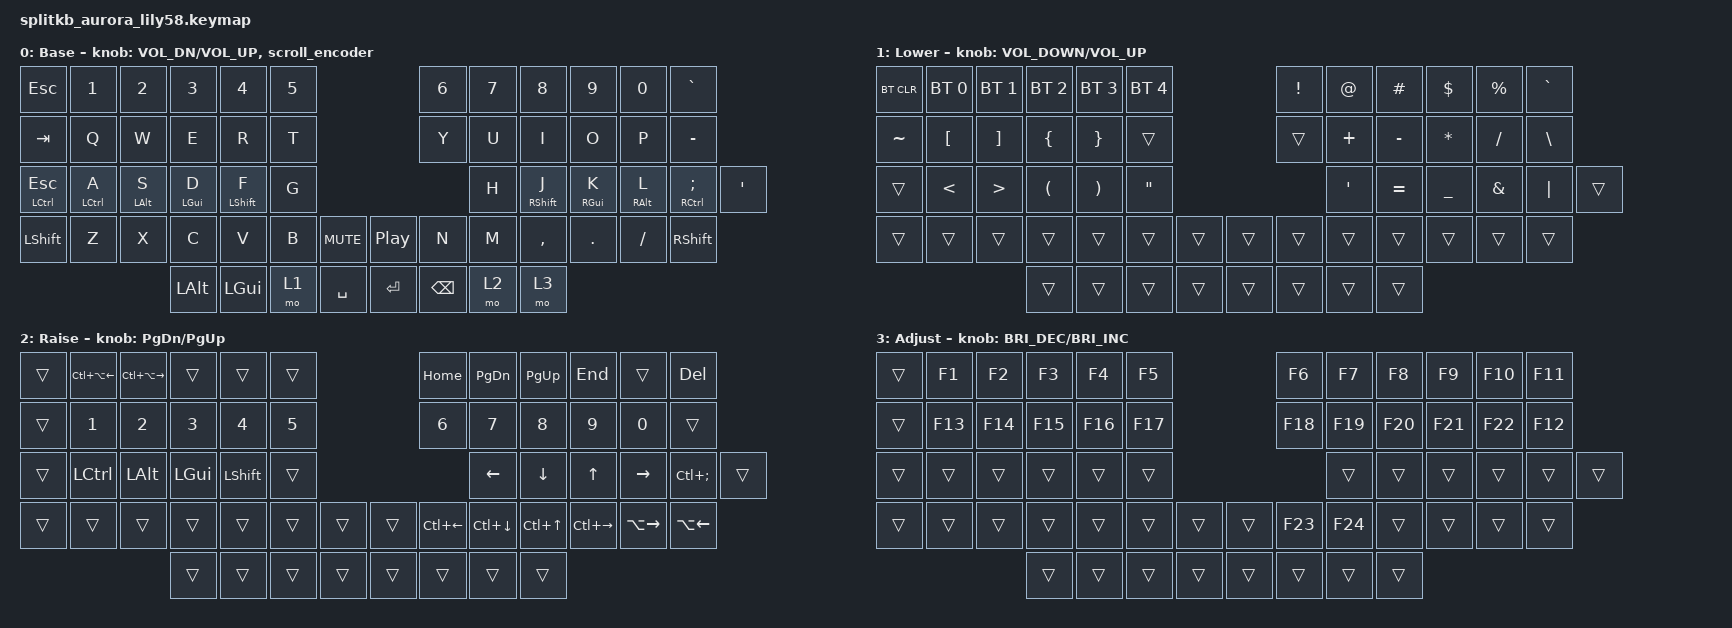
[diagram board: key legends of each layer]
/*
 * Copyright (c) 2022 The ZMK Contributors
 *
 * SPDX-License-Identifier: MIT
 */

#include <behaviors.dtsi>
#include <dt-bindings/zmk/bt.h>
#include <dt-bindings/zmk/ext_power.h>
#include <dt-bindings/zmk/keys.h>
#include <dt-bindings/zmk/pointing.h>

// Wheel lines scrolled per encoder detent (macOS adds its own acceleration on fast spins)
#define ENC_SCROLL_LINES 3

// One encoder tap (tap-ms) must span exactly one &msc tick (trigger-period-ms),
// and &msc emits speed * trigger-period-ms / 1000 lines per tick.
&msc {
    trigger-period-ms = <10>;
};

/ {
    behaviors {
        hml: homerow_mods_left {
            compatible = "zmk,behavior-hold-tap";
            #binding-cells = <2>;
            tapping-term-ms = <280>;
            quick-tap-ms = <175>;
            require-prior-idle-ms = <150>;
            flavor = "balanced";
            bindings = <&kp>, <&kp>;
            hold-trigger-key-positions = <6 7 8 9 10 11 18 19 20 21 22 23 30 31 32 33 34 35 43 44 45 46 47 48 49 50 51 52 53 54 55 56 57>;
            hold-trigger-on-release;
        };

        hmr: homerow_mods_right {
            compatible = "zmk,behavior-hold-tap";
            #binding-cells = <2>;
            tapping-term-ms = <280>;
            quick-tap-ms = <175>;
            require-prior-idle-ms = <150>;
            flavor = "balanced";
            bindings = <&kp>, <&kp>;
            hold-trigger-key-positions = <0 1 2 3 4 5 12 13 14 15 16 17 24 25 26 27 28 29 36 37 38 39 40 41 42 50 51 52 53 54 55 56 57>;
            hold-trigger-on-release;
        };

        scroll_encoder: scroll_encoder {
            compatible = "zmk,behavior-sensor-rotate";
            #sensor-binding-cells = <0>;
            bindings = <&msc MOVE_Y(-ENC_SCROLL_LINES * 100)>, <&msc MOVE_Y(ENC_SCROLL_LINES * 100)>;
            tap-ms = <15>;
        };
    };

    keymap {
        compatible = "zmk,keymap";

        default_layer {
            display-name = "Base";
            // ------------------------------------------------------------------------------------------------------------
            // |  ESC  |  1  |  2  |  3   |  4   |  5   |                   |  6   |  7    |  8    |  9   |   0   |   `   |
            // |  TAB  |  Q  |  W  |  E   |  R   |  T   |                   |  Y   |  U    |  I    |  O   |   P   |   -   |
            // |CTRL/ESC| A  |  S  |  D   |  F   |  G   |                   |  H   |  J    |  K    |  L   |   ;   |   '   |
            // | SHIFT |  Z  |  X  |  C   |  V   |  B   |  MUTE  |  | PLAY  |  N   |  M    |  ,    |  .   |   /   | SHIFT |
            //                     | ALT  | GUI  | LOWER|  SPACE |  | ENTER | BSPC | RAISE | ADJST |

            bindings = <
&kp ESC        &kp N1    &kp N2  &kp N3    &kp N4    &kp N5                                  &kp N6     &kp N7     &kp N8     &kp N9    &kp N0       &kp GRAVE
&kp TAB        &kp Q     &kp W   &kp E     &kp R     &kp T                                   &kp Y      &kp U      &kp I      &kp O     &kp P        &kp MINUS
&mt LCTRL ESC  &hml LCTRL A  &hml LALT S  &hml LGUI D  &hml LSHFT F  &kp G                 &kp H      &hmr RSHFT J  &hmr RGUI K  &hmr RALT L  &hmr RCTRL SEMI  &kp SQT
&kp LSHFT      &kp Z     &kp X   &kp C     &kp V     &kp B   &kp C_MUTE    &kp C_PLAY_PAUSE  &kp N      &kp M      &kp COMMA  &kp DOT   &kp FSLH     &kp RSHFT
                                 &kp LALT  &kp LGUI  &mo 1   &kp SPACE     &kp RET           &kp BACKSPACE  &mo 2  &mo 3
            >;

            sensor-bindings = <&inc_dec_kp C_VOL_DN C_VOL_UP &scroll_encoder>;
        };

        lower_layer {
            display-name = "Lower";
            // ------------------------------------------------------------------------------------------------------------
            // | BTCLR | BT1 | BT2 |  BT3 |  BT4 |  BT5 |                   |  !   |  @    |  #    |  $   |   %   |   `   |
            // |   ~   |  [  |  ]  |  {   |  }   |      |                   |      |  +    |  -    |  *   |   /   |   \   |
            // |       |  <  |  >  |  (   |  )   |  "   |                   |  '   |  =    |  _    |  &   |   |   |       |
            // |       |     |     |      |      |      |        |  |       |      |       |       |      |       |       |
            //                     |      |      |      |        |  |       |      |       |       |

            bindings = <
&bt BT_CLR  &bt BT_SEL 0  &bt BT_SEL 1  &bt BT_SEL 2  &bt BT_SEL 3  &bt BT_SEL 4                    &kp EXCL   &kp AT     &kp HASH   &kp DLLR  &kp PRCNT  &kp GRAVE
&kp TILDE   &kp LBKT      &kp RBKT      &kp LBRC      &kp RBRC      &trans                          &trans     &kp PLUS   &kp MINUS  &kp STAR  &kp FSLH   &kp BSLH
&trans      &kp LT        &kp GT        &kp LPAR      &kp RPAR      &kp DQT                         &kp SQT    &kp EQUAL  &kp UNDER  &kp AMPS  &kp PIPE   &trans
&trans      &trans        &trans        &trans        &trans        &trans        &trans    &trans  &trans     &trans     &trans     &trans    &trans     &trans
                                        &trans        &trans        &trans        &trans    &trans  &trans     &trans     &trans
            >;

            sensor-bindings = <&inc_dec_kp C_VOLUME_DOWN C_VOLUME_UP>;
        };

        raise_layer {
            display-name = "Raise";
            // ------------------------------------------------------------------------------------------------------------
            // |       | C-A-←| C-A-→|      |      |      |                   | HOME |  PGDN | PGUP  | END  |       |  DEL  |
            // |       |  1   |  2   |  3   |  4   |  5   |                   |  6   |   7   |   8   |  9   |   0   |       |
            // |       | CTRL | ALT  | GUI  | SHFT |      |                   |  ←   |   ↓   |   ↑   |  →   | C-;   |       |
            // |       |      |      |      |      |      |        |  |       | C-←  |  C-↓  |  C-↑  | C-→  | A-→   | A-←   |
            //                       |      |      |      |        |  |       |      |       |       |

            bindings = <
&trans  &kp LC(LA(LEFT))  &kp LC(LA(RIGHT))  &trans    &trans    &trans                        &kp HOME      &kp PG_DN       &kp PG_UP       &kp END        &trans         &kp DEL
&trans  &kp N1            &kp N2             &kp N3    &kp N4    &kp N5                        &kp N6        &kp N7          &kp N8          &kp N9         &kp N0         &trans
&trans  &kp LCTRL         &kp LALT           &kp LGUI  &kp LSHFT &trans                        &kp LEFT      &kp DOWN        &kp UP          &kp RIGHT      &kp LC(SEMI)   &trans
&trans  &trans            &trans             &trans    &trans    &trans  &trans      &trans    &kp LC(LEFT)  &kp LC(DOWN)    &kp LC(UP)      &kp LC(RIGHT)  &kp LA(RIGHT)  &kp LA(LEFT)
                                             &trans    &trans    &trans  &trans      &trans    &trans        &trans          &trans
            >;

            sensor-bindings = <&inc_dec_kp PAGE_DOWN PAGE_UP>;
        };

        adjust_layer {
            display-name = "Adjust";
            // ------------------------------------------------------------------------------------------------------------
            // |       |  F1  |  F2  |  F3  |  F4  |  F5  |                   |  F6  |  F7   |  F8   |  F9  |  F10  |  F11  |
            // |       | F13  | F14  | F15  | F16  | F17  |                   | F18  |  F19  |  F20  | F21  |  F22  |  F12  |
            // |       |      |      |      |      |      |                   |      |       |       |      |       |       |
            // |       |      |      |      |      |      |        |  |       | F23  |  F24  |       |      |       |       |
            //                       |      |      |      |        |  |       |      |       |       |

            bindings = <
&trans  &kp F1   &kp F2   &kp F3   &kp F4   &kp F5                         &kp F6   &kp F7   &kp F8   &kp F9   &kp F10  &kp F11
&trans  &kp F13  &kp F14  &kp F15  &kp F16  &kp F17                        &kp F18  &kp F19  &kp F20  &kp F21  &kp F22  &kp F12
&trans  &trans   &trans   &trans   &trans   &trans                         &trans   &trans   &trans   &trans   &trans   &trans
&trans  &trans   &trans   &trans   &trans   &trans   &trans      &trans    &kp F23  &kp F24  &trans   &trans   &trans   &trans
                          &trans   &trans   &trans   &trans      &trans    &trans   &trans   &trans
            >;

            sensor-bindings = <&inc_dec_kp C_BRIGHTNESS_DEC C_BRIGHTNESS_INC>;
        };
    };
};
